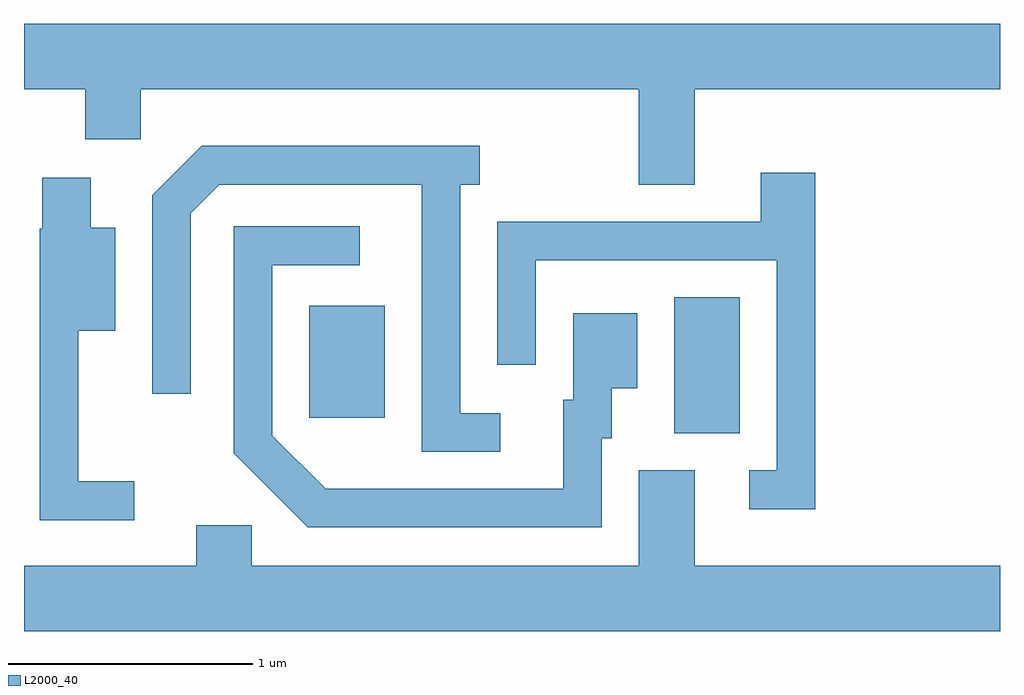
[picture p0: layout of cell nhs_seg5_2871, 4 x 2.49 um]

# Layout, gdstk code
import gdstk
lib = gdstk.Library(unit=1e-6, precision=1e-09)
def R(c, l, rs):  # rectangles x0, y0, x1, y1
    for r in rs: c.add(gdstk.rectangle(r[:2], r[2:], *l))
def P(c, l, *ps):  # polygons
    for p in ps: c.add(gdstk.Polygon(p, *l))
L2000_40 = (2000, 40)

nhs_seg5_2871 = lib.new_cell('nhs_seg5_2871')
R(nhs_seg5_2871, L2000_40, [(272.276,1517.546,272.544,1518.104), (270.781,1517.611,271.089,1518.069)])
P(nhs_seg5_2871, L2000_40, [(272.359,1518.956),(273.611,1518.956),(273.611,1519.224),(269.611,1519.224),(269.611,1518.956),(269.861,1518.956),(269.861,1518.751),(270.089,1518.751),(270.089,1518.956),(272.131,1518.956),(272.131,1518.566),(272.359,1518.566)],
  [(271.563,1517.629),(271.399,1517.629),(271.399,1518.566),(271.478,1518.566),(271.478,1518.724),(270.339,1518.724),(270.136,1518.522),(270.136,1517.708),(270.294,1517.708),(270.294,1518.449),(270.412,1518.566),(271.241,1518.566),(271.241,1517.471),(271.563,1517.471)],
  [(272.854,1518.614),(272.631,1518.614),(272.631,1518.414),(271.551,1518.414),(271.551,1517.828),(271.709,1517.828),(271.709,1518.256),(272.696,1518.256),(272.696,1517.394),(272.583,1517.394),(272.583,1517.236),(272.854,1517.236)],
  [(270.063,1517.349),(269.834,1517.349),(269.834,1517.966),(269.984,1517.966),(269.984,1518.389),(269.884,1518.389),(269.884,1518.594),(269.686,1518.594),(269.686,1518.385),(269.676,1518.385),(269.676,1517.191),(270.063,1517.191)],
  [(271.979,1517.526),(272.019,1517.526),(272.019,1517.731),(272.124,1517.731),(272.124,1518.039),(271.861,1518.039),(271.861,1517.684),(271.821,1517.684),(271.821,1517.319),(270.847,1517.319),(270.629,1517.537),(270.629,1518.236),(270.988,1518.236),(270.988,1518.394),(270.471,1518.394),(270.471,1517.464),(270.774,1517.161),(271.979,1517.161)],
  [(273.611,1517.004),(272.359,1517.004),(272.359,1517.394),(272.131,1517.394),(272.131,1517.004),(270.544,1517.004),(270.544,1517.169),(270.316,1517.169),(270.316,1517.004),(269.611,1517.004),(269.611,1516.736),(273.611,1516.736)])

lib.write_gds('nhs_seg5_2871.gds')
